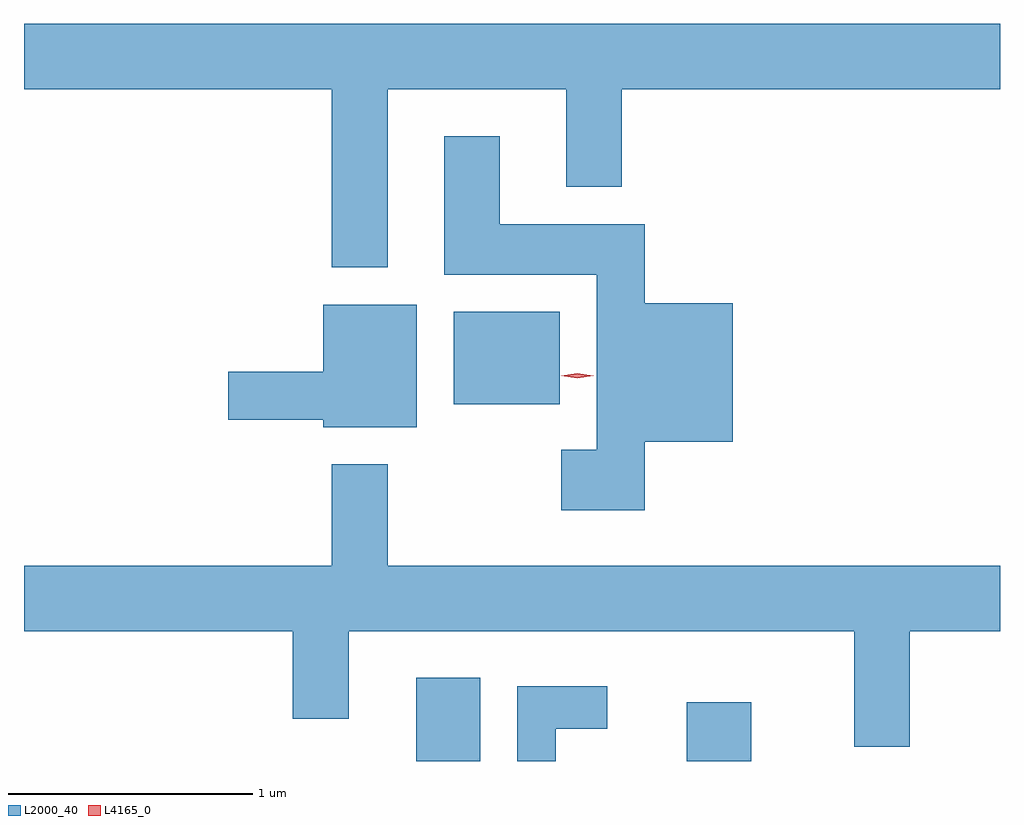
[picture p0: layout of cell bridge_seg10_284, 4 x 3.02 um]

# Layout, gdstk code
import gdstk
lib = gdstk.Library(unit=1e-6, precision=1e-09)
def R(c, l, rs):  # rectangles x0, y0, x1, y1
    for r in rs: c.add(gdstk.rectangle(r[:2], r[2:], *l))
def P(c, l, *ps):  # polygons
    for p in ps: c.add(gdstk.Polygon(p, *l))
L2000_40 = (2000, 40)
L4165_0 = (4165, 0)

bridge_seg10_284 = lib.new_cell('bridge_seg10_284')
R(bridge_seg10_284, L2000_40, [(1449.616,2173.323,1449.879,2173.664), (1450.726,2173.323,1450.989,2173.564), (1449.771,2174.786,1450.204,2175.164)])
P(bridge_seg10_284, L2000_40, [(1449.499,2176.076),(1450.231,2176.076),(1450.231,2175.676),(1450.459,2175.676),(1450.459,2176.076),(1452.009,2176.076),(1452.009,2176.344),(1448.009,2176.344),(1448.009,2176.076),(1449.271,2176.076),(1449.271,2175.346),(1449.499,2175.346)],
  [(1450.554,2174.631),(1450.914,2174.631),(1450.914,2175.199),(1450.554,2175.199),(1450.554,2175.524),(1449.959,2175.524),(1449.959,2175.884),(1449.731,2175.884),(1449.731,2175.316),(1450.356,2175.316),(1450.356,2174.599),(1450.211,2174.599),(1450.211,2174.351),(1450.554,2174.351)],
  [(1449.619,2175.194),(1449.236,2175.194),(1449.236,2174.919),(1448.846,2174.919),(1448.846,2174.721),(1449.236,2174.721),(1449.236,2174.691),(1449.619,2174.691)],
  [(1451.639,2173.856),(1452.009,2173.856),(1452.009,2174.124),(1449.499,2174.124),(1449.499,2174.539),(1449.271,2174.539),(1449.271,2174.124),(1448.009,2174.124),(1448.009,2173.856),(1449.111,2173.856),(1449.111,2173.496),(1449.339,2173.496),(1449.339,2173.856),(1451.411,2173.856),(1451.411,2173.381),(1451.639,2173.381)],
  [(1450.189,2173.456),(1450.399,2173.456),(1450.399,2173.629),(1450.031,2173.629),(1450.031,2173.323),(1450.189,2173.323)])
P(bridge_seg10_284, L4165_0, [(1450.277,2174.892),(1450.211,2174.902),(1450.21,2174.902),(1450.211,2174.903),(1450.277,2174.912),(1450.343,2174.903),(1450.344,2174.902),(1450.343,2174.902)])

lib.write_gds('bridge_seg10_284.gds')
